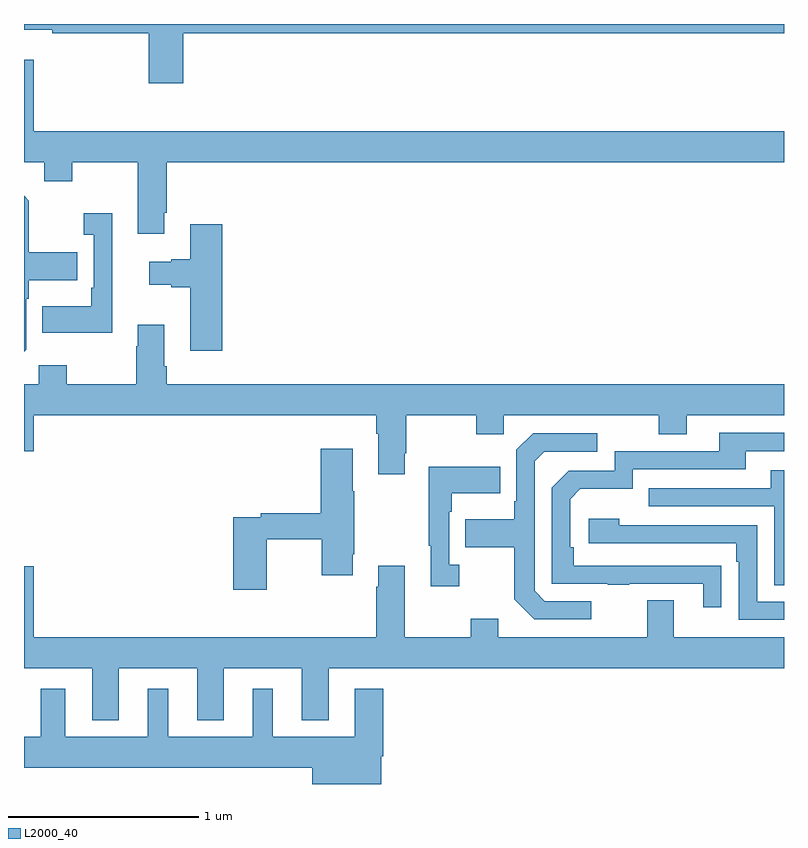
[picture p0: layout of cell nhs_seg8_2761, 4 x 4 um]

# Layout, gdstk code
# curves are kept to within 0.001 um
import gdstk
lib = gdstk.Library(unit=1e-6, precision=1e-09)
def P(c, l, *ps):  # polygons
    for p in ps: c.add(gdstk.Polygon(p, *l))
L2000_40 = (2000, 40)

nhs_seg8_2761 = lib.new_cell('nhs_seg8_2761')
P(nhs_seg8_2761, L2000_40, [(285.839,1111.852),(289,1111.852),(289,1111.9),(285,1111.9),(285,1111.871),(285.148,1111.871),(285.148,1111.852),(285.656,1111.852),(285.656,1111.587),(285.839,1111.587)],
  [(285.739,1110.907),(285.752,1110.907),(285.752,1111.172),(289,1111.172),(289,1111.336),(285.052,1111.336),(285.052,1111.711),(285,1111.711),(285,1111.172),(285.107,1111.172),(285.107,1111.073),(285.255,1111.073),(285.255,1111.172),(285.599,1111.172),(285.599,1110.795),(285.739,1110.795)],
  [(285.012,1110.186),(285.012,1110.455),(285.025,1110.455),(285.025,1110.551),(285.281,1110.551),(285.281,1110.699),(285.025,1110.699),(285.025,1110.971),(285,1110.996),(285,1110.174)],
  [(285.464,1110.904),(285.315,1110.904),(285.315,1110.791),(285.366,1110.791),(285.366,1110.511),(285.354,1110.511),(285.354,1110.415),(285.097,1110.415),(285.097,1110.275),(285.464,1110.275)],
  [(286.043,1110.847),(285.875,1110.847),(285.875,1110.662),(285.776,1110.662),(285.776,1110.649),(285.66,1110.649),(285.66,1110.527),(285.776,1110.527),(285.776,1110.515),(285.875,1110.515),(285.875,1110.18),(286.043,1110.18)],
  [(287.005,1109.641),(287.013,1109.641),(287.013,1109.84),(287.38,1109.84),(287.38,1109.741),(287.526,1109.741),(287.526,1109.84),(288.34,1109.84),(288.34,1109.741),(288.487,1109.741),(288.487,1109.84),(289,1109.84),(289,1110.004),(285.752,1110.004),(285.752,1110.1),(285.739,1110.1),(285.739,1110.316),(285.599,1110.316),(285.599,1110.203),(285.592,1110.203),(285.592,1110.004),(285.225,1110.004),(285.225,1110.103),(285.078,1110.103),(285.078,1110.004),(285,1110.004),(285,1109.652),(285.052,1109.652),(285.052,1109.84),(286.853,1109.84),(286.853,1109.744),(286.865,1109.744),(286.865,1109.529),(287.005,1109.529)],
  [(288.671,1109.048),(287.894,1109.049),(287.894,1109.146),(287.874,1109.146),(287.874,1109.4),(287.927,1109.453),(288.204,1109.453),(288.204,1109.556),(288.799,1109.556),(288.799,1109.652),(289,1109.652),(289,1109.748),(288.659,1109.748),(288.659,1109.652),(288.108,1109.652),(288.108,1109.55),(287.868,1109.55),(287.778,1109.46),(287.778,1108.953),(288.073,1108.953),(288.073,1108.948),(288.185,1108.948),(288.185,1108.953),(288.575,1108.953),(288.575,1108.83),(288.671,1108.83)],
  [(287.986,1108.863),(287.742,1108.863),(287.688,1108.917),(287.688,1109.598),(287.739,1109.649),(288.016,1109.649),(288.016,1109.745),(287.679,1109.745),(287.592,1109.658),(287.592,1109.389),(287.58,1109.389),(287.58,1109.293),(287.323,1109.293),(287.323,1109.146),(287.58,1109.146),(287.58,1108.873),(287.685,1108.767),(287.986,1108.767)],
  [(286.278,1109.188),(286.567,1109.188),(286.567,1108.998),(286.729,1108.998),(286.729,1109.11),(286.737,1109.11),(286.737,1109.441),(286.729,1109.441),(286.729,1109.665),(286.562,1109.665),(286.562,1109.324),(286.246,1109.324),(286.246,1109.304),(286.1,1109.304),(286.1,1108.923),(286.278,1108.923)],
  [(287.29,1109.054),(287.238,1109.054),(287.238,1109.333),(287.251,1109.333),(287.251,1109.429),(287.507,1109.429),(287.507,1109.569),(287.13,1109.569),(287.13,1109.153),(287.141,1109.153),(287.141,1108.941),(287.29,1108.941)],
  [(289,1109.551),(288.929,1109.551),(288.929,1109.457),(288.289,1109.457),(288.289,1109.361),(288.948,1109.361),(288.948,1108.945),(289,1108.945)],
  [(289,1108.86),(288.858,1108.86),(288.858,1109.262),(288.134,1109.262),(288.134,1109.296),(287.973,1109.296),(287.973,1109.166),(288.749,1109.166),(288.749,1109.069),(288.762,1109.069),(288.762,1108.764),(289,1108.764)],
  [(285.499,1108.508),(285.911,1108.508),(285.911,1108.235),(286.051,1108.235),(286.051,1108.508),(286.463,1108.508),(286.463,1108.235),(286.603,1108.235),(286.603,1108.508),(289,1108.508),(289,1108.672),(288.421,1108.672),(288.421,1108.867),(288.281,1108.867),(288.281,1108.672),(287.497,1108.672),(287.497,1108.771),(287.35,1108.771),(287.35,1108.672),(287.005,1108.672),(287.005,1109.05),(286.865,1109.05),(286.865,1108.937),(286.853,1108.937),(286.853,1108.672),(285.052,1108.672),(285.052,1109.047),(285,1109.047),(285,1108.508),(285.359,1108.508),(285.359,1108.235),(285.499,1108.235)],
  [(286.879,1108.046),(286.892,1108.046),(286.892,1108.402),(286.742,1108.402),(286.742,1108.15),(286.309,1108.15),(286.309,1108.402),(286.205,1108.402),(286.205,1108.15),(285.76,1108.15),(285.76,1108.402),(285.65,1108.402),(285.65,1108.15),(285.217,1108.15),(285.217,1108.402),(285.089,1108.402),(285.089,1108.15),(285,1108.15),(285,1107.986),(286.517,1107.986),(286.517,1107.9),(286.879,1107.9)])

lib.write_gds('nhs_seg8_2761.gds')
